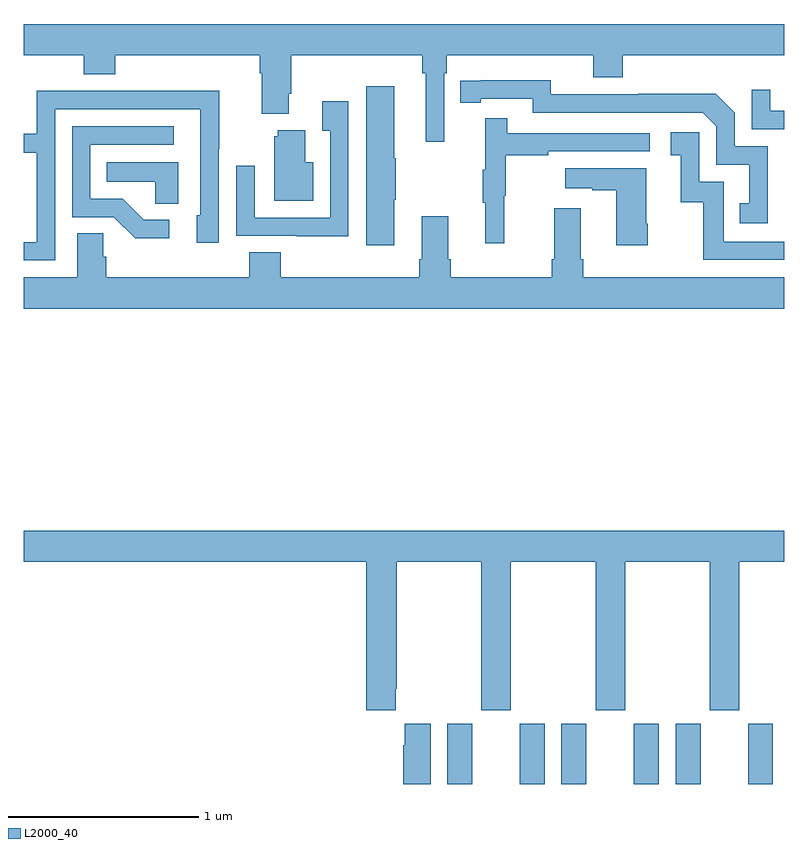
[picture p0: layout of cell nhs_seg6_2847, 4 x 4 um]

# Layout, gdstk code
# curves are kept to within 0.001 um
import gdstk
lib = gdstk.Library(unit=1e-6, precision=1e-09)
def R(c, l, rs):  # rectangles x0, y0, x1, y1
    for r in rs: c.add(gdstk.rectangle(r[:2], r[2:], *l))
def P(c, l, *ps):  # polygons
    for p in ps: c.add(gdstk.Polygon(p, *l))
L2000_40 = (2000, 40)

nhs_seg6_2847 = lib.new_cell('nhs_seg6_2847')
R(nhs_seg6_2847, L2000_40, [(281.228,947.5,281.359,947.818), (281.609,947.5,281.74,947.818), (281.828,947.5,281.959,947.818), (282.209,947.5,282.34,947.818), (282.428,947.5,282.559,947.818), (282.809,947.5,282.94,947.818)])
P(nhs_seg6_2847, L2000_40, [(281.211,951.236),(281.225,951.236),(281.225,951.332),(281.996,951.332),(281.996,951.215),(282.149,951.215),(282.149,951.332),(283,951.332),(283,951.496),(279,951.496),(279,951.332),(279.317,951.332),(279.317,951.233),(279.482,951.233),(279.482,951.332),(280.241,951.332),(280.241,951.236),(280.253,951.236),(280.253,951.023),(280.393,951.023),(280.393,951.13),(280.406,951.13),(280.406,951.332),(281.095,951.332),(281.095,951.236),(281.114,951.236),(281.114,950.877),(281.211,950.877)],
  [(282.912,950.853),(282.738,950.853),(282.738,951.03),(282.64,951.128),(282.232,951.128),(282.232,951.126),(281.772,951.126),(281.772,951.199),(281.296,951.198),(281.296,951.082),(281.404,951.082),(281.404,951.102),(281.676,951.102),(281.676,951.03),(282.57,951.03),(282.642,950.958),(282.642,950.757),(282.815,950.757),(282.815,950.553),(282.766,950.553),(282.766,950.448),(282.912,950.448)],
  [(280.948,950.572),(280.956,950.572),(280.956,950.789),(280.948,950.789),(280.948,951.169),(280.802,951.169),(280.802,950.334),(280.948,950.334)],
  [(283,951.039),(282.925,951.039),(282.925,951.151),(282.828,951.151),(282.828,950.943),(283,950.943)],
  [(279.165,951.048),(279.93,951.048),(279.93,950.49),(279.911,950.49),(279.911,950.346),(280.026,950.346),(280.026,950.839),(280.029,950.839),(280.029,951.146),(279.565,951.146),(279.565,951.144),(279.069,951.144),(279.069,950.919),(279,950.919),(279,950.818),(279.069,950.818),(279.069,950.349),(279,950.349),(279,950.253),(279.165,950.253)],
  [(280.707,951.091),(280.571,951.091),(280.571,950.935),(280.611,950.935),(280.611,950.478),(280.215,950.478),(280.215,950.752),(280.119,950.752),(280.119,950.382),(280.435,950.382),(280.435,950.381),(280.707,950.381)],
  [(281.528,950.592),(281.536,950.592),(281.536,950.806),(281.759,950.806),(281.759,950.826),(282.292,950.826),(282.292,950.922),(281.543,950.922),(281.543,951.001),(281.426,951.001),(281.426,950.729),(281.415,950.729),(281.415,950.555),(281.426,950.555),(281.426,950.343),(281.528,950.343)],
  [(279.766,950.466),(279.631,950.466),(279.52,950.577),(279.351,950.577),(279.351,950.862),(279.79,950.862),(279.79,950.958),(279.255,950.958),(279.255,950.481),(279.474,950.481),(279.587,950.369),(279.766,950.369)],
  [(280.522,950.77),(280.48,950.77),(280.48,950.938),(280.337,950.938),(280.337,950.907),(280.319,950.907),(280.319,950.567),(280.522,950.567)],
  [(283,950.352),(282.681,950.352),(282.681,950.667),(282.552,950.667),(282.552,950.926),(282.402,950.926),(282.402,950.805),(282.455,950.805),(282.455,950.559),(282.573,950.559),(282.573,950.256),(283,950.256)],
  [(279.814,950.77),(279.436,950.77),(279.436,950.666),(279.693,950.666),(279.693,950.551),(279.814,950.551)],
  [(282.282,950.446),(282.274,950.446),(282.274,950.737),(281.847,950.737),(281.847,950.633),(281.99,950.633),(281.99,950.623),(282.116,950.623),(282.116,950.334),(282.282,950.334)],
  [(283,950.164),(281.942,950.164),(281.942,950.26),(281.929,950.26),(281.929,950.527),(281.789,950.527),(281.789,950.26),(281.777,950.26),(281.777,950.164),(281.246,950.164),(281.246,950.26),(281.233,950.26),(281.233,950.485),(281.093,950.485),(281.093,950.26),(281.081,950.26),(281.081,950.164),(280.352,950.164),(280.352,950.297),(280.187,950.297),(280.187,950.164),(279.434,950.164),(279.434,950.273),(279.42,950.273),(279.42,950.396),(279.281,950.396),(279.281,950.164),(279,950.164),(279,950),(283,950)],
  [(280.957,948.001),(280.962,948.001),(280.962,948.668),(281.407,948.668),(281.407,947.889),(281.562,947.889),(281.562,948.668),(282.007,948.668),(282.007,947.889),(282.162,947.889),(282.162,948.668),(282.607,948.668),(282.607,947.889),(282.762,947.889),(282.762,948.668),(283,948.668),(283,948.832),(279,948.832),(279,948.668),(280.802,948.668),(280.802,947.889),(280.957,947.889)],
  [(281.003,947.818),(281.003,947.705),(280.997,947.705),(280.997,947.5),(281.14,947.5),(281.14,947.818)])

lib.write_gds('nhs_seg6_2847.gds')
